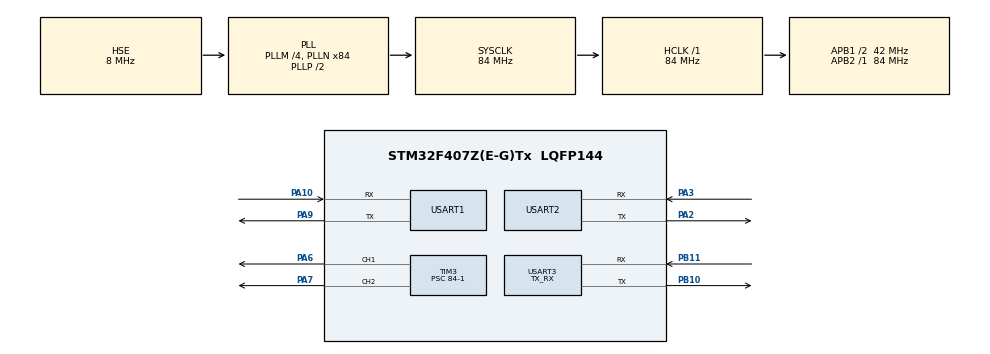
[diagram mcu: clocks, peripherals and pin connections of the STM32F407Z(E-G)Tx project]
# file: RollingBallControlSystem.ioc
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Dma.Request0=USART2_RX
Dma.USART2_RX.0.Direction=DMA_PERIPH_TO_MEMORY
Dma.USART2_RX.0.FIFOMode=DMA_FIFOMODE_DISABLE
Dma.USART2_RX.0.Instance=DMA1_Stream5
Dma.USART2_RX.0.MemDataAlignment=DMA_MDATAALIGN_BYTE
Dma.USART2_RX.0.MemInc=DMA_MINC_ENABLE
Dma.USART2_RX.0.Mode=DMA_CIRCULAR
Dma.USART2_RX.0.PeriphDataAlignment=DMA_PDATAALIGN_BYTE
Dma.USART2_RX.0.PeriphInc=DMA_PINC_DISABLE
Dma.USART2_RX.0.Priority=DMA_PRIORITY_MEDIUM
Mcu.Family=STM32F4
Mcu.Name=STM32F407Z(E-G)Tx
Mcu.Package=LQFP144
NVIC.DMA1_Stream5_IRQn=true\:0\:0\:false\:false\:true\:false\:true
NVIC.PriorityGroup=NVIC_PRIORITYGROUP_4
NVIC.TIM6_DAC_IRQn=true\:0\:0\:false\:false\:true\:true\:true
NVIC.USART1_IRQn=true\:0\:0\:false\:false\:true\:true\:true
NVIC.USART2_IRQn=true\:0\:0\:false\:false\:true\:true\:true
PA10.Mode=Asynchronous
PA10.Signal=USART1_RX
PA13.Mode=Serial_Wire
PA13.Signal=SYS_JTMS-SWDIO
PA14.Mode=Serial_Wire
PA14.Signal=SYS_JTCK-SWCLK
PA2.Mode=Asynchronous
PA2.Signal=USART2_TX
PA3.Mode=Asynchronous
PA3.Signal=USART2_RX
PA6.Signal=S_TIM3_CH1
PA7.Signal=S_TIM3_CH2
PA9.Mode=Asynchronous
PA9.Signal=USART1_TX
PB10.Mode=Asynchronous
PB10.Signal=USART3_TX
PB11.Mode=Asynchronous
PB11.Signal=USART3_RX
PC14-OSC32_IN.Mode=LSE-External-Oscillator
PC14-OSC32_IN.Signal=RCC_OSC32_IN
PC15-OSC32_OUT.Mode=LSE-External-Oscillator
PC15-OSC32_OUT.Signal=RCC_OSC32_OUT
PH0-OSC_IN.Mode=HSE-External-Oscillator
PH0-OSC_IN.Signal=RCC_OSC_IN
PH1-OSC_OUT.Mode=HSE-External-Oscillator
PH1-OSC_OUT.Signal=RCC_OSC_OUT
ProjectManager.HeapSize=0x200
ProjectManager.StackSize=0x400
ProjectManager.TargetToolchain=Other Toolchains (GPDSC)
RCC.48MHZClocksFreq_Value=42000000
RCC.AHBFreq_Value=84000000
RCC.APB1CLKDivider=RCC_HCLK_DIV2
RCC.APB1Freq_Value=42000000
RCC.APB1TimFreq_Value=84000000
RCC.APB2Freq_Value=84000000
RCC.APB2TimFreq_Value=84000000
RCC.CortexFreq_Value=84000000
RCC.EnbaleCSS=true
RCC.HCLKFreq_Value=84000000
RCC.HSE_VALUE=8000000
RCC.HSI_VALUE=16000000
RCC.PLLM=4
RCC.PLLN=84
RCC.PLLSourceVirtual=RCC_PLLSOURCE_HSE
RCC.SYSCLKFreq_VALUE=84000000
RCC.SYSCLKSource=RCC_SYSCLKSOURCE_PLLCLK
RCC.VCOOutputFreq_Value=168000000
SH.S_TIM3_CH1.0=TIM3_CH1,PWM Generation1 CH1
SH.S_TIM3_CH2.0=TIM3_CH2,PWM Generation2 CH2
TIM3.AutoReloadPreload=TIM_AUTORELOAD_PRELOAD_ENABLE
TIM3.Channel-PWM\ Generation1\ CH1=TIM_CHANNEL_1
TIM3.Channel-PWM\ Generation2\ CH2=TIM_CHANNEL_2
TIM3.Period=20000-1
TIM3.Prescaler=84-1
TIM6.AutoReloadPreload=TIM_AUTORELOAD_PRELOAD_ENABLE
TIM6.Period=20000-1
TIM6.Prescaler=84-1
USART1.VirtualMode=VM_ASYNC
USART2.VirtualMode=VM_ASYNC
USART3.Mode=MODE_TX_RX
USART3.VirtualMode=VM_ASYNC
VP_TIM3_VS_ClockSourceINT.Mode=Internal
VP_TIM6_VS_ClockSourceINT.Mode=Enable_Timer
board=custom

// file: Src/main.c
/* USER CODE BEGIN Header */
/**
  ******************************************************************************
  * @file           : main.c
  * @brief          : Main program body
  ******************************************************************************
  * @attention
  *
  * <h2><center>&copy; Copyright (c) 2021 STMicroelectronics.
  * All rights reserved.</center></h2>
  *
  * This software component is licensed by ST under BSD 3-Clause license,
  * the "License"; You may not use this file except in compliance with the
  * License. You may obtain a copy of the License at:
  *                        opensource.org/licenses/BSD-3-Clause
  *
  ******************************************************************************
  */
/* USER CODE END Header */
#include "main.h"
#include "dma.h"
#include "tim.h"
#include "usart.h"
#include "gpio.h"

/* USER CODE BEGIN Includes */
#include "hmi.h"
#include "host.h"
#include "pid.h"
#include "servo.h"
#include <stdlib.h>
#include <stdio.h>
/* USER CODE END Includes */

/* USER CODE BEGIN PTD */
#define USER_MAIN_DEBUG

#ifdef USER_MAIN_DEBUG
#define user_main_printf(format, ...) HostSendLog(LOG_COLOR_BLACK, format "\r\n" ,##__VA_ARGS__)
#define user_main_info(format, ...) HostSendLog(LOG_COLOR_BLACK, "[\tmain]info:" format "\r\n" ,##__VA_ARGS__)
#define user_main_debug(format, ...) HostSendLog(LOG_COLOR_GREEN, "[\tmain]debug:" format "\r\n" ,##__VA_ARGS__)
#define user_main_error(format, ...) HostSendLog(LOG_COLOR_RED, "[\tmain]error:" format "\r\n" , ##__VA_ARGS__)
#else
#define user_main_printf(format, ...)
#define user_main_info(format, ...)
#define user_main_debug(format, ...)
#define user_main_error(format, ...)
#endif
/* USER CODE END PTD */

/* USER CODE BEGIN PD */
#define ERROR_RANGE 5
#define BIAS 1 //go past bias
/* USER CODE END PD */

void SystemClock_Config(void);

/* USER CODE BEGIN 0 */

extern int32_t posX, posY;
extern u8 posBUF[4];

char strbuf[50];

const struct Waypoint wp1[] = { { 153, 116, 6 } } // 2s5
                        , wp2[] = { { 0, 0, 1 }, { 0, 0, 3 } } // 1->5s2
                        , wp3[] = { { 0, 0, 1 }, { 0, 0, 3 }, { 0, 0, 3 } } // 1->4s2->5s2
                        , wp4[] = { { 0, 0, 1 }, { 0, 0, 0 }, { 0, 0, 3 } } // 1-^->9s2
                        , wp5[] = { { 0, 0, 1 }, { 0, 0, 0 }, { 0, 0, 0 }, { 0, 0, 3 } } // 1->2->6->9s2
                        , wp7[] = { { 0, 0, 1 }, { 0, 0, 0 }, { 0, 0, 0 }, { 0, 0, 0 }, { 0, 0, 0 }, { 0, 0, 0 }, { 0, 0, 0 }, { 0, 0, 0 }, { 0, 0, 0 }, { 0, 0, 0 }, { 0, 0, 3 } };
// 4->(((5)))->9s2
const u16 coor[3][3][2] = {
    { { 0, 0 }, { 0, 0 }, { 0, 0 } },
    { { 0, 0 }, { 0, 0 }, { 0, 0 } },
    { { 0, 0 }, { 0, 0 }, { 0, 0 } }
};

void PointCtr(struct Waypoint waypoints[], u8 n) // Moving through point list
{
    uint8_t j = 0;
    uint16_t out = 0;

    user_main_debug("waiting for ball");

    while (posX < 50 || posY < 50 || posX > 180 || posY > 180) ;

    user_main_debug("Start!");

    ServoSetState(&servoX, SERVO_STATE_ACTIVE);
    ServoSetState(&servoY, SERVO_STATE_ACTIVE);

    PIDSetState(&pidX, PID_STATE_ACTIVE);
    PIDSetState(&pidY, PID_STATE_ACTIVE);

    for (int i = 0; i < n; i++)
    {
        snprintf((char*)strbuf, 49, "\tTarget No.%d(%d,%d)", i, waypoints[i].x, waypoints[i].y);
        HostSendLog(LOG_COLOR_BLACK, strbuf);

        snprintf((char*)strbuf, 49, "%d", i);
        HMISetValue("t2.txt", strbuf);
        snprintf((char*)strbuf, 49, "%ds", waypoints[i].stopT);
        HMISetValue("t4.txt", strbuf);

        PIDSetTarget(&pidX, waypoints[i].x);
        PIDSetTarget(&pidY, waypoints[i].y);
        while (pidX.e  > ERROR_RANGE || pidY.e > ERROR_RANGE || pidX.e  < -ERROR_RANGE || pidY.e  < -ERROR_RANGE)
        {
            HAL_Delay(100);
        }

        snprintf((char*)strbuf, 49, "\tIn point No.%d(%d,%d)\tHold for %d s", i, waypoints[i].x, waypoints[i].y, waypoints[i].stopT);
        HostSendLog(LOG_COLOR_BLACK, strbuf);

        HAL_Delay(waypoints[i].stopT * 1000);
    }

    HMIGetOrder();

    PIDSetState(&pidX, PID_STATE_DEACTIVE);
    PIDSetState(&pidY, PID_STATE_DEACTIVE);

    ServoSetState(&servoX, SERVO_STATE_DEACTIVE);
    ServoSetState(&servoY, SERVO_STATE_DEACTIVE);

    HMISetValue("t2.txt", "end");
    HMISetValue("t4.txt", "end");
    HAL_Delay(1000);

    HMISendOrder("page", "page0");
}

void DebugServo() // Debug Servo
{
    u8 order[10] = { 0 }, servo = 2, buf[10];
    int8_t sX = 0, sY = 0;

    user_main_debug("Debug Mode");

    ServoSetState(&servoX, SERVO_STATE_ACTIVE);
    ServoSetState(&servoY, SERVO_STATE_ACTIVE);

    while (order[0] != 'O' || order[1] != 'D' || order[2] != 'E')
    {
        HMIGetData(order);
        if (order[1] != 'S' || order[2] != 'V')
            continue;
        if (order[3] == 'X' && order[4] == '+') sX++;
        if (order[3] == 'X' && order[4] == '-') sX--;
        if (order[3] == 'Y' && order[4] == '+') sY++;
        if (order[3] == 'Y' && order[4] == '-') sY--;

        ServoSetAngle(&servoX, sX);
        ServoSetAngle(&servoY, sY);

        itoa(sX, (char*)buf, 10);
        HMISetValue("t2.txt", (char*)buf);
        itoa(sY, (char*)buf, 10);
        HMISetValue("t4.txt", (char*)buf);
    }

    ServoSetState(&servoX, SERVO_STATE_DEACTIVE);
    ServoSetState(&servoY, SERVO_STATE_DEACTIVE);

    HMISendOrder("page", "page0");
}

int AutoPath(struct Waypoint *path)
{
    u8 node[5] = { 0 }, i = 0, n = 0;
    u8 nodeTo, r, l, last_r, last_l;
    while (node[0] != 4)
    {
        user_main_debug("Waiting for input node list");

        HMIGetData(node);
        snprintf((char*)strbuf, 49, "\tGet Node List:%d->%d->%d->%d", node[1], node[2], node[3], node[4]);
        HostSendLog(node[0] == 4 ? LOG_COLOR_BLACK : LOG_COLOR_RED, node[0] == 4 ? strbuf : "Error Path");
    }

    while (i < node[0])
    {
        nodeTo = node[i + 1] - '0' - 1;
        last_r = r;
        last_l = l;
        r = nodeTo / 3;
        l = nodeTo % 3;

        if (i == 0 || r == 1 || l == 1 || last_l == 1 || last_r == 1 || (last_l + last_r - l - r) % 2 == 1)
        {
            (path + n)->x = coor[r][l][0];
            (path + n)->y = coor[r][l][1];
            (path + n)->stopT = 0;
            n++;
        }
        else
        {
            (path + n + 1)->x = coor[r][l][0];
            (path + n + 1)->y = coor[r][l][1];
            (path + n + 1)->stopT = 0;

            (path + n)->x = ((path + n + 1)->x + (path + n - 1)->x) / 2 + BIAS;
            (path + n)->y = ((path + n + 1)->y + (path + n - 1)->y) / 2 + BIAS;
            (path + n)->stopT = 0;

            n += 2;
        }

        i++;
    }
    path->stopT = 1;
    return n;
}

void ManualServo()
{
    u8 od = 0;
    s16 ang;

    ServoSetState(&servoX, SERVO_STATE_ACTIVE);
    ServoSetState(&servoY, SERVO_STATE_ACTIVE);

    while (od != 'E')
    {
        if (od == 'X' || od == 'Y')
        {
            ang = HMIReadInt() - 500;

            if (ang > 500 || ang < -500) continue;

            ServoSetAngle((od == 'X' ? &servoX : &servoY), ang);

            //            snprintf((char*)strbuf, 49, "\tServo%c set %d", od, (int)ang);
            //            HostSendLog(LOG_COLOR_BLACK, strbuf);
        }
        od = HMIGetOrder();
    }

    ServoSetState(&servoX, SERVO_STATE_DEACTIVE);
    ServoSetState(&servoY, SERVO_STATE_DEACTIVE);

    user_main_debug("Exit Manual Mode");
}
/* USER CODE END 0 */

int main(void)
{

    /* MCU Configuration--------------------------------------------------------*/

    /* Reset of all peripherals, Initializes the Flash interface and the Systick. */
    HAL_Init();

    /* USER CODE BEGIN Init */
    pidX.obj = &servoX;
    pidX.func = &ServoSetAngle;
    pidY.obj = &servoY;
    pidY.func = &ServoSetAngle;
    PIDInit();

    /* USER CODE END Init */

    /* Configure the system clock */
    SystemClock_Config();

    /* Initialize all configured peripherals */
    MX_GPIO_Init();
    MX_DMA_Init();
    MX_TIM3_Init();
    MX_TIM6_Init();
    MX_USART1_UART_Init();
    MX_USART3_UART_Init();
    MX_USART2_UART_Init();
    /* USER CODE BEGIN 2 */
    int mode = 0;
    struct Waypoint path[10];
    u8 nodeN = 0;

    HMI_Init();

    user_main_debug("Init Done!");

    HAL_UART_Receive_DMA(&huart2, posBUF, 4);

    HAL_TIM_Base_Start_IT(&htim6);
    /* USER CODE END 2 */

    /* Infinite loop */
    /* USER CODE BEGIN WHILE */
    while (1)
    {
        user_main_debug("Waiting Order");

        mode = HMIGetOrder();
        switch (mode - '0')
        {
        case 1:
            user_main_debug("Go to Mode 1");
            PointCtr((struct Waypoint*)wp1, 1);
            break;
        case 2:
            user_main_debug("Go to Mode 2");
            PointCtr((struct Waypoint*)wp2, 2);
            break;
        case 3:
            user_main_debug("Go to Mode 3");
            PointCtr((struct Waypoint*)wp3, 3);
            break;
        case 4:
            user_main_debug("Go to Mode 4");
            PointCtr((struct Waypoint*)wp4, 3);
            break;
        case 5:
            user_main_debug("Go to Mode 5");
            PointCtr((struct Waypoint*)wp5, 4);
            break;
        case 6:
            user_main_debug("Go to Mode 6");
            nodeN = AutoPath(path);
            PointCtr(path, nodeN);
            break;
        case 7:
            user_main_debug("Go to Mode 7");
            PointCtr((struct Waypoint*)wp7, 11);
            break;
        case 0:
            user_main_debug("Go to Mode 0");
            DebugServo();
            break;
        case 9:
            user_main_debug("Go to Mode 9");
            ManualServo();
        default:
            break;
        }
        /* USER CODE END WHILE */

    }
}

void SystemClock_Config(void)
{
    RCC_OscInitTypeDef RCC_OscInitStruct = { 0 };
    RCC_ClkInitTypeDef RCC_ClkInitStruct = { 0 };

    /** Configure the main internal regulator output voltage
    */
    __HAL_RCC_PWR_CLK_ENABLE();
    __HAL_PWR_VOLTAGESCALING_CONFIG(PWR_REGULATOR_VOLTAGE_SCALE1);
    /** Initializes the RCC Oscillators according to the specified parameters
    * in the RCC_OscInitTypeDef structure.
    */
    RCC_OscInitStruct.OscillatorType = RCC_OSCILLATORTYPE_HSE;
    RCC_OscInitStruct.HSEState = RCC_HSE_ON;
    RCC_OscInitStruct.PLL.PLLState = RCC_PLL_ON;
    RCC_OscInitStruct.PLL.PLLSource = RCC_PLLSOURCE_HSE;
    RCC_OscInitStruct.PLL.PLLM = 4;
    RCC_OscInitStruct.PLL.PLLN = 84;
    RCC_OscInitStruct.PLL.PLLP = RCC_PLLP_DIV2;
    RCC_OscInitStruct.PLL.PLLQ = 4;
    if (HAL_RCC_OscConfig(&RCC_OscInitStruct) != HAL_OK)
    {
        Error_Handler();
    }
    /** Initializes the CPU, AHB and APB buses clocks
    */
    RCC_ClkInitStruct.ClockType = RCC_CLOCKTYPE_HCLK | RCC_CLOCKTYPE_SYSCLK
                                | RCC_CLOCKTYPE_PCLK1 | RCC_CLOCKTYPE_PCLK2;
    RCC_ClkInitStruct.SYSCLKSource = RCC_SYSCLKSOURCE_PLLCLK;
    RCC_ClkInitStruct.AHBCLKDivider = RCC_SYSCLK_DIV1;
    RCC_ClkInitStruct.APB1CLKDivider = RCC_HCLK_DIV2;
    RCC_ClkInitStruct.APB2CLKDivider = RCC_HCLK_DIV1;

    if (HAL_RCC_ClockConfig(&RCC_ClkInitStruct, FLASH_LATENCY_2) != HAL_OK)
    {
        Error_Handler();
    }
    /** Enables the Clock Security System
    */
    HAL_RCC_EnableCSS();
}

void Error_Handler(void)
{
    __disable_irq();
    while (1)
    {
    }
}

/************************ (C) COPYRIGHT STMicroelectronics *****END OF FILE****/
